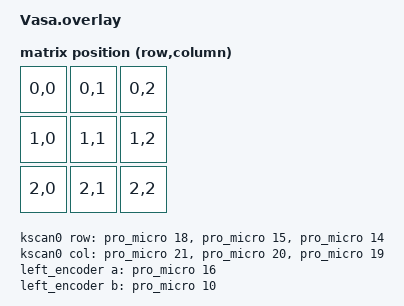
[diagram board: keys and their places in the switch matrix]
#include <dt-bindings/zmk/matrix_transform.h>

/ {
    chosen {
        zmk,kscan = &kscan0;
        zmk,matrix-transform = &default_transform;
    };


    default_transform: keymap_transform_0 {
        compatible = "zmk,matrix-transform";
        columns = <3>;
        rows = <3>;

        map = <
        RC(0,0) RC(0,1) RC(0,2) 
        RC(1,0) RC(1,1) RC(1,2) 
        RC(2,0) RC(2,1) RC(2,2) 
    
        >;
    };


    kscan0: kscan_0 {
        compatible = "zmk,kscan-gpio-matrix";
        wakeup-source;

        diode-direction = "col2row";

        col-gpios
            = <&pro_micro 21 GPIO_ACTIVE_HIGH>
            , <&pro_micro 20 GPIO_ACTIVE_HIGH>
            , <&pro_micro 19 GPIO_ACTIVE_HIGH>
            ;

        row-gpios
            = <&pro_micro 18 (GPIO_ACTIVE_HIGH | GPIO_PULL_DOWN)>
            , <&pro_micro 15 (GPIO_ACTIVE_HIGH | GPIO_PULL_DOWN)>
            , <&pro_micro 14 (GPIO_ACTIVE_HIGH | GPIO_PULL_DOWN)>
            ;
    };

        left_encoder: encoder_left {
            compatible = "alps,ec11";
            a-gpios = <&pro_micro 16 (GPIO_ACTIVE_HIGH | GPIO_PULL_UP)>;
            b-gpios = <&pro_micro 10 (GPIO_ACTIVE_HIGH | GPIO_PULL_UP)>;
            steps = <20>;
            status = "disabled";
    };

        sensors: sensors {
        compatible = "zmk,keymap-sensors";
        sensors = <&left_encoder>;
        triggers-per-rotation = <20>;
    };


};
        &left_encoder {
            status = "okay";
    };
